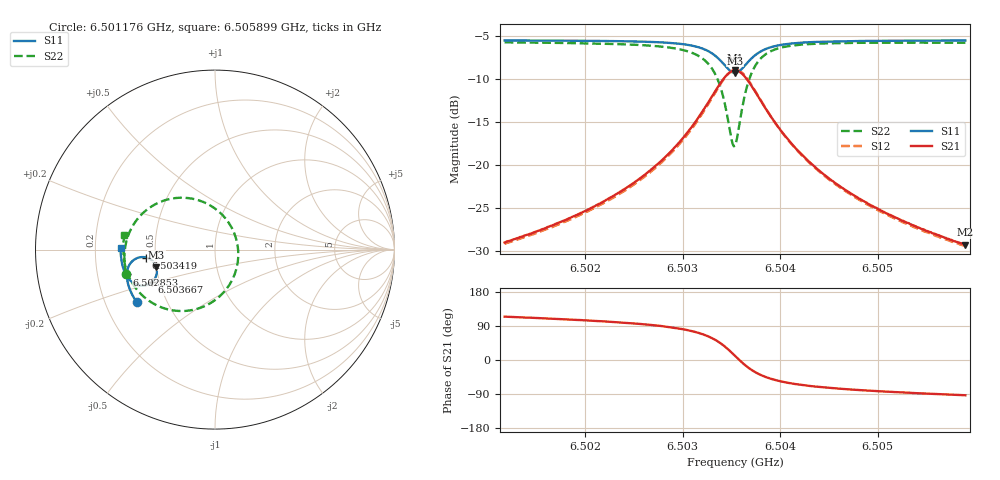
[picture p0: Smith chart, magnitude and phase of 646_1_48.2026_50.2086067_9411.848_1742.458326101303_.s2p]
#  HZ  S  RI  R  50.00
! Rohde & Schwarz Vector Network Analyzer
! Rohde-Schwarz,ZNB20-2Port,1311601062101988,3.16
! Created: UTC 3/20/2024, 12:05:01 PM
! freq[Hz]  re:S11  im:S11  re:S21  im:S21  re:S12  im:S12  re:S22  im:S22
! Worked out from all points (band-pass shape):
!   401 points, 6.501176 GHz to 6.505899 GHz, reference 50 ohm
!   highest |S21| = -9.04 dB at 6.503538 GHz (marker M1); lowest = -29.2 dB at 6.505899 GHz (marker M2)
!   |S21| within 3 dB of the highest: 6.503302 GHz to 6.503774 GHz (471.6 kHz wide, 0.00725 % of centre)
!   lowest |S11| = -9.3 dB at 6.503538 GHz (marker M3), VSWR 2.04, Z = 24.9 - j5.55 ohm
!   |S11| at or under -10 dB: nowhere
!   |S22| runs from -17.8 to -5.8 dB; largest |S21 - S12| = 0.013
!   S11 on the Smith chart (normalised r, x): 6.501176 GHz: 0.34, -0.27; 6.502853 GHz: 0.33, -0.12; 6.503419 GHz: 0.44, -0.05; 6.503667 GHz: 0.46, -0.19; 6.505899 GHz: 0.31, +0.01
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6.5011757e9  -0.437 -0.2937  -0.0146 0.0324  -0.0129 0.0325  -0.4952 -0.1353
6.5019669e9  -0.4694 -0.2333  -0.0139 0.0512  -0.0112 0.0507  -0.505 -0.0474
6.5024039e9  -0.4838 -0.1932  -0.0104 0.0717  -0.00702 0.0705  -0.4996 0.0184
6.5027581e9  -0.4911 -0.1519  -0.000517 0.1028  0.00343 0.1003  -0.4774 0.0946
6.5028526e9  -0.4912 -0.1384  0.00551 0.1153  0.0095 0.1122  -0.4645 0.1214
6.5030534e9  -0.4854 -0.1036  0.0304 0.152  0.0344 0.1473  -0.4127 0.1923
6.5031951e9  -0.469 -0.0732  0.0719 0.1871  0.0749 0.1809  -0.3326 0.2526
6.503325e9  -0.4314 -0.0462  0.152 0.2137  0.153 0.2069  -0.187 0.2891
6.5034195e9  -0.3829 -0.0441  0.247 0.1959  0.2474 0.1909  -0.0225 0.2435
6.5035021e9  -0.3383 -0.0749  0.3281 0.1182  0.3312 0.1134  0.1077 0.0901
6.5035376e9  -0.3271 -0.0982  0.3466 0.0673  0.3506 0.0612  0.1293 -0.0055
6.5035612e9  -0.324 -0.1153  0.3497 0.0311  0.3544 0.0238  0.1266 -0.0719
6.5035966e9  -0.3263 -0.1405  0.342 -0.0211  0.3461 -0.0309  0.0979 -0.165
6.5036675e9  -0.3497 -0.1794  0.2928 -0.1004  0.2931 -0.1131  -0.0177 -0.2936
6.5037619e9  -0.3922 -0.1999  0.2112 -0.145  0.206 -0.1564  -0.1843 -0.3422
6.5038328e9  -0.4192 -0.1999  0.1616 -0.1503  0.1545 -0.159  -0.2769 -0.3289
6.5039155e9  -0.4432 -0.1926  0.1196 -0.144  0.1118 -0.1501  -0.351 -0.2961
6.5040808e9  -0.4732 -0.1713  0.0698 -0.122  0.063 -0.1249  -0.4318 -0.2266
6.5043288e9  -0.496 -0.1399  0.0359 -0.0939  0.0304 -0.0947  -0.4809 -0.1467
6.5046713e9  -0.5113 -0.1026  0.0163 -0.0696  0.0125 -0.0693  -0.504 -0.072
6.50512e9  -0.521 -0.06  0.00545 -0.0513  0.00295 -0.0506  -0.5112 -0.00424
6.5058995e9  -0.5264 0.00713  -0.00183 -0.0344  -0.00334 -0.0337  -0.5046 0.082
